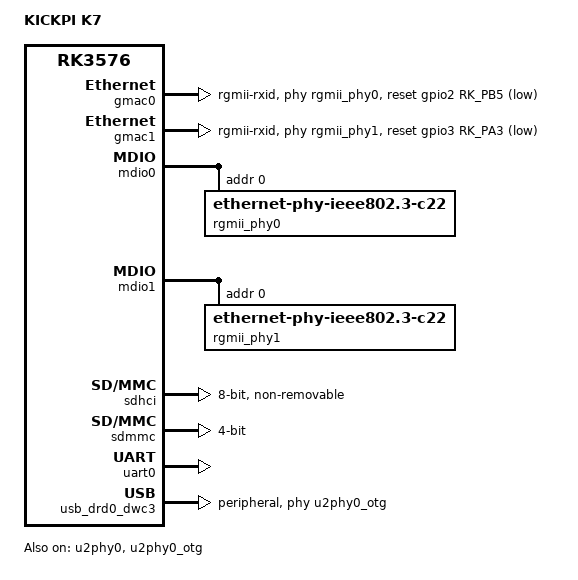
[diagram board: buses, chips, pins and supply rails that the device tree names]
// SPDX-License-Identifier: (GPL-2.0+ OR MIT)
/*
 * KICKPI K7 Linux board configuration.
 * Board overrides for the Rockchip BSP RK3576 SoC device tree.
 * K7 topology cross-checked against the vendor rk3576-kickpi-k7.dts.
 * Keep boot firmware power rails; voltage switching/HS200 require board validation.
 */

/dts-v1/;

#include <dt-bindings/gpio/gpio.h>
#include "rk3576.dtsi"

/ {
	model = "KICKPI K7";
	compatible = "kickpi,k7", "rockchip,rk3576";

	aliases {
		mmc0 = &sdhci;
		mmc1 = &sdmmc;
	};

	chosen {
		stdout-path = "serial0:1500000n8";
	};
};

&gmac0 {
	/* The PHY adds the RX delay, and the MAC adds the TX delay. */
	phy-mode = "rgmii-rxid";
	clock_in_out = "output";
	snps,reset-gpio = <&gpio2 RK_PB5 GPIO_ACTIVE_LOW>;
	snps,reset-active-low;
	snps,reset-delays-us = <0 20000 100000>;
	pinctrl-names = "default";
	pinctrl-0 = <&eth0m0_miim &eth0m0_tx_bus2 &eth0m0_rx_bus2
		     &eth0m0_rgmii_clk &eth0m0_rgmii_bus>;
	tx_delay = <0x21>;
	phy-handle = <&rgmii_phy0>;
	status = "okay";
};

&gmac1 {
	phy-mode = "rgmii-rxid";
	clock_in_out = "output";
	snps,reset-gpio = <&gpio3 RK_PA3 GPIO_ACTIVE_LOW>;
	snps,reset-active-low;
	snps,reset-delays-us = <0 20000 100000>;
	pinctrl-names = "default";
	pinctrl-0 = <&eth1m0_miim &eth1m0_tx_bus2 &eth1m0_rx_bus2
		     &eth1m0_rgmii_clk &eth1m0_rgmii_bus>;
	tx_delay = <0x20>;
	phy-handle = <&rgmii_phy1>;
	status = "okay";
};

/* The two PHYs use address 0 on separate MDIO buses. */
&mdio0 {
	rgmii_phy0: ethernet-phy@0 {
		compatible = "ethernet-phy-ieee802.3-c22";
		reg = <0>;
		clocks = <&cru REFCLKO25M_GMAC0_OUT>;
	};
};

&mdio1 {
	rgmii_phy1: ethernet-phy@0 {
		compatible = "ethernet-phy-ieee802.3-c22";
		reg = <0>;
		clocks = <&cru REFCLKO25M_GMAC1_OUT>;
	};
};

&sdhci {
	bus-width = <8>;
	cap-mmc-highspeed;
	max-frequency = <52000000>;
	no-sd;
	no-sdio;
	non-removable;
	status = "okay";
};

&sdmmc {
	/* Vendor K7 routes CLK/CMD/CD/DATA; do not inherit generic PWREN. */
	pinctrl-0 = <&sdmmc0_clk &sdmmc0_cmd &sdmmc0_det &sdmmc0_bus4>;
	max-frequency = <50000000>;
	bus-width = <4>;
	cap-sd-highspeed;
	disable-wp;
	no-mmc;
	no-sdio;
	status = "okay";
};

&u2phy0 {
	status = "okay";
};

&u2phy0_otg {
	status = "okay";
};

&uart0 {
	pinctrl-0 = <&uart0m0_xfer>;
	status = "okay";
};

&usb_drd0_dwc3 {
	dr_mode = "peripheral";
	maximum-speed = "high-speed";
	phys = <&u2phy0_otg>;
	phy-names = "usb2-phy";
	status = "okay";
};
